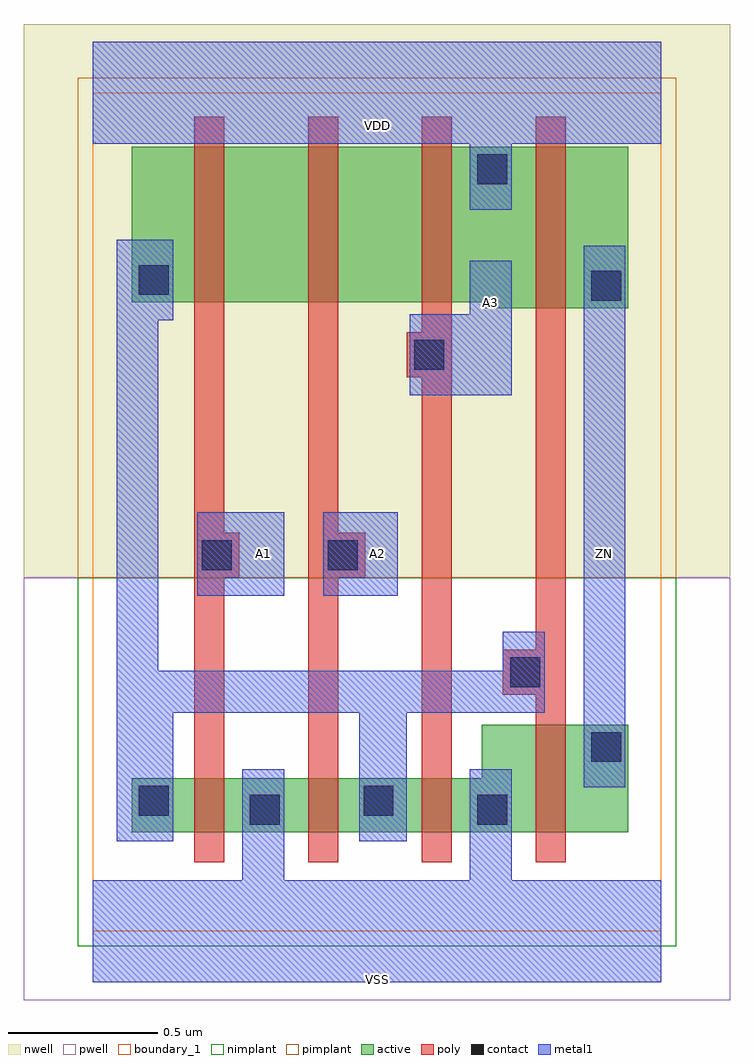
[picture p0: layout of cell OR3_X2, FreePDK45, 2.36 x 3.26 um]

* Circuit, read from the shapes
.subckt OR3_X2 A1 A2 A3 VDD VSS ZN
M1 VSS A1 n1 VSUBS nfet w=0.18u l=0.1u
M2 n1 A2 VSS VSUBS nfet w=0.18u l=0.1u
M3 VSS A3 n1 VSUBS nfet w=0.18u l=0.1u
M4 ZN n1 VSS VSUBS nfet w=0.36u l=0.1u
M5 n2 A1 n1 n3 pfet w=0.52u l=0.1u
M6 n4 A2 n2 n3 pfet w=0.52u l=0.1u
M7 VDD A3 n4 n3 pfet w=0.52u l=0.1u
M8 ZN n1 VDD n3 pfet w=0.54u l=0.1u
.ends

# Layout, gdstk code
import gdstk
lib = gdstk.Library(unit=1e-6, precision=1e-09)
def R(c, l, rs):  # rectangles x0, y0, x1, y1
    for r in rs: c.add(gdstk.rectangle(r[:2], r[2:], *l))
def P(c, l, *ps):  # polygons
    for p in ps: c.add(gdstk.Polygon(p, *l))
active = (1, 0)
pwell = (2, 0)
nwell = (3, 0)
nimplant = (4, 0)
pimplant = (5, 0)
poly = (9, 0)
contact = (10, 0)
metal1 = (11, 0)
boundary_1 = (235, 1)

or3_x2 = lib.new_cell('OR3_X2')
P(or3_x2, active, [(0.13,2.1),(1.3,2.1),(1.3,2.08),(1.79,2.08),(1.79,2.62),(0.13,2.62)],
  [(0.13,0.33),(1.79,0.33),(1.79,0.69),(1.3,0.69),(1.3,0.51),(0.13,0.51)])
R(or3_x2, pwell, [(-0.23,-0.23,2.13,1.18)])
R(or3_x2, nwell, [(-0.23,1.18,2.13,3.03)])
R(or3_x2, nimplant, [(-0.05,-0.05,1.95,1.18)])
R(or3_x2, pimplant, [(-0.05,1.18,1.95,2.85)])
P(or3_x2, poly, [(1.37,0.79),(1.48,0.79),(1.48,0.23),(1.58,0.23),(1.58,2.72),(1.48,2.72),(1.48,0.94),(1.37,0.94)],
  [(1.05,1.85),(1.1,1.85),(1.1,0.23),(1.2,0.23),(1.2,2.72),(1.1,2.72),(1.1,2),(1.05,2)],
  [(0.72,0.23),(0.82,0.23),(0.82,1.18),(0.91,1.18),(0.91,1.33),(0.82,1.33),(0.82,2.72),(0.72,2.72)],
  [(0.34,0.23),(0.44,0.23),(0.44,1.18),(0.49,1.18),(0.49,1.33),(0.44,1.33),(0.44,2.72),(0.34,2.72)])
R(or3_x2, contact, [(0.525,0.355,0.625,0.455), (1.285,0.355,1.385,0.455), (0.155,0.385,0.255,0.485), (0.905,0.385,1.005,0.485), (1.665,0.565,1.765,0.665), (1.395,0.815,1.495,0.915), (0.365,1.205,0.465,1.305), (0.785,1.205,0.885,1.305), (1.075,1.875,1.175,1.975), (1.665,2.105,1.765,2.205), (0.155,2.125,0.255,2.225), (1.285,2.495,1.385,2.595)])
R(or3_x2, metal1, [(1.64,0.48,1.78,2.29), (1.64,0.48,1.78,2.29), (0.35,1.12,0.64,1.4), (0.35,1.12,0.64,1.4), (0.77,1.12,1.02,1.4), (0.77,1.12,1.02,1.4)])
P(or3_x2, metal1, [(0,-0.17),(1.9,-0.17),(1.9,0.17),(1.4,0.17),(1.4,0.54),(1.26,0.54),(1.26,0.17),(0.64,0.17),(0.64,0.54),(0.5,0.54),(0.5,0.17),(0,0.17)],
  [(1.06,1.79),(1.4,1.79),(1.4,2.24),(1.26,2.24),(1.26,2.06),(1.06,2.06)],
  [(0,2.63),(1.26,2.63),(1.26,2.41),(1.4,2.41),(1.4,2.63),(1.9,2.63),(1.9,2.97),(0,2.97)],
  [(0,2.63),(1.26,2.63),(1.26,2.41),(1.4,2.41),(1.4,2.63),(1.9,2.63),(1.9,2.97),(0,2.97)],
  [(0,-0.17),(1.9,-0.17),(1.9,0.17),(1.4,0.17),(1.4,0.54),(1.26,0.54),(1.26,0.17),(0.64,0.17),(0.64,0.54),(0.5,0.54),(0.5,0.17),(0,0.17)],
  [(0.08,0.3),(0.27,0.3),(0.27,0.73),(0.89,0.73),(0.89,0.3),(1.05,0.3),(1.05,0.73),(1.51,0.73),(1.51,1),(1.37,1),(1.37,0.87),(0.22,0.87),(0.22,2.04),(0.27,2.04),(0.27,2.31),(0.08,2.31)],
  [(1.06,1.79),(1.4,1.79),(1.4,2.24),(1.26,2.24),(1.26,2.06),(1.06,2.06)])
R(or3_x2, boundary_1, [(0,0,1.9,2.8)])
or3_x2.add(gdstk.Label('ZN', (1.71,1.26), layer=11, texttype=0))
or3_x2.add(gdstk.Label('VSS', (0.95,-0.16), layer=11, texttype=0))
or3_x2.add(gdstk.Label('VDD', (0.95,2.69), layer=11, texttype=0))
or3_x2.add(gdstk.Label('A3', (1.33,2.1), layer=11, texttype=0))
or3_x2.add(gdstk.Label('A2', (0.95,1.26), layer=11, texttype=0))
or3_x2.add(gdstk.Label('A1', (0.57,1.26), layer=11, texttype=0))

lib.write_gds('OR3_X2.gds')
